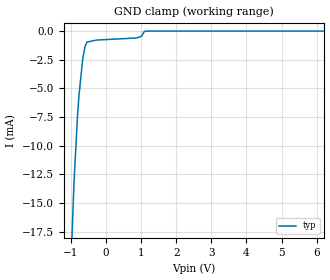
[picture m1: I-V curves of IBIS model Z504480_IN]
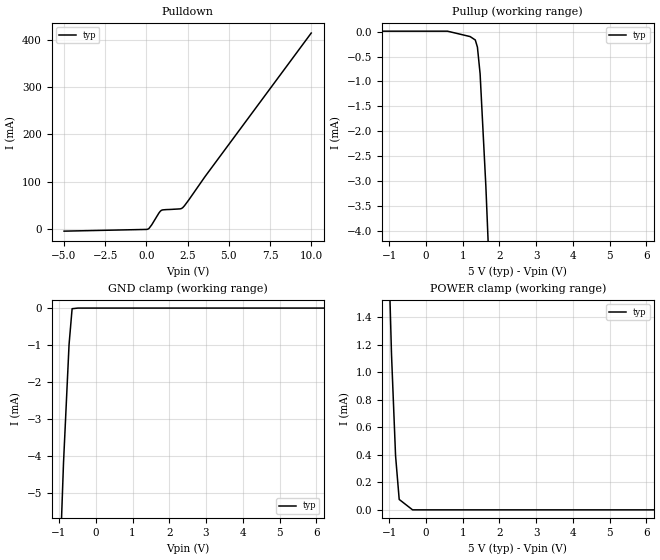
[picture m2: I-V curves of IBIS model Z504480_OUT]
| YOU ARE ONLY AUTHORIZED TO USE THIS SOFTWARE
| ACCORDING TO LICENSOR'S LICENSE RESTRICTIONS.
[IBIS Ver] 3.1
[File Name] sn54ls85j.ibs
[File Rev] 2.0
[Source] Measured and created by ICX Technology
[Date] Friday 7/14/00 9:08:15 AM
[Copyright]
| (C) COPYRIGHT 1993-2000
| MENTOR GRAPHICS CORPORATION
| ICX STANDARD LIBRARY, ICX PROJECT MODELING,
| ICX CUSTOM MODELING, ICX VENDOR MODEL
| ALL RIGHTS RESERVED.
| THE FOLLOWING ARE TRADEMARKS OR SERVICE MARKS OF
| MENTOR GRAPHICS CORPORATION:ICX (R), ICX STANDARD
| LIBRARY(R), ICX PROJECT MODELING(R), ICX CUSTOM
| MODELING(R), qualityIBIS(TM), MODELVIEWER(TM),
| AND MODELEDITOR(TM)
| ALL COPIES OF SOFTWARE, INCLUDING BUT NOT LIMITED TO
| ANY MODIFICATIONS, ENHANCEMENTS OR DERIVATIVE WORKS,
| MUST CONTAIN ALL MENTOR GRAPHICS CORPORATION'S
| NOTICES AND LEGENDS, INCLUDING THOSE EMBEDDED IN
| SOFTWARE AND THOSE AFFIXED TO SOFTWARE MEDIUM
| AND CONTAINER, AS RECEIVED FROM MENTOR GRAPHICS
| CORPORATION.
|  ZAP Model Builder 2.7
[Component] SN54LS85J
[Manufacturer] OnSemiconductor
[Package]
| variable   typ   min   max
R_pkg  .212ohms NA NA
L_pkg  4.758nH NA NA
C_pkg  1.944pF NA NA
[Pin] signal_name  model_name  R_pin  L_pin C_pin
1 B3 Z504480_IN .224 7.258n 2.683p
2 A_LT_B_I Z504480_IN .216 5.258n 2.19p
3 A_EQ_B_I Z504480_IN .208 3.758n 1.697p
4 A_GT_B_I Z504480_IN .2 2.758n 1.204p
5 A_GT_B_O Z504480_OUT .2 2.758n 1.204p
6 A_EQ_B_O Z504480_OUT .208 3.758n 1.697p
7 A_LT_B_O Z504480_OUT .216 5.258n 2.19p
8 GND GND .224 7.258n 2.683p
9 B0 Z504480_IN .224 7.258n 2.683p
10 A0 Z504480_IN .216 5.258n 2.19p
11 B1 Z504480_IN .208 3.758n 1.697p
12 A1 Z504480_IN .2 2.758n 1.204p
13 A2 Z504480_IN .2 2.758n 1.204p
14 B2 Z504480_IN .208 3.758n 1.697p
15 A3 Z504480_IN .216 5.258n 2.19p
16 VCC POWER .224 7.258n 2.683p
| Models and submodels in the file (2): Z504480_IN (Input), Z504480_OUT (Output)
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| (C) COPYRIGHT 1993-2000
| MENTOR GRAPHICS CORPORATION
| ICX STANDARD LIBRARY, ICX PROJECT MODELING,
| ICX CUSTOM MODELING, ICX VENDOR MODEL
| ALL RIGHTS RESERVED.
| THE FOLLOWING ARE TRADEMARKS OR SERVICE MARKS OF
| MENTOR GRAPHICS CORPORATION:ICX (R), ICX STANDARD
| LIBRARY(R), ICX PROJECT MODELING(R), ICX CUSTOM
| MODELING(R), qualityIBIS(TM), MODELVIEWER(TM),
| AND MODELEDITOR(TM)
| ALL COPIES OF SOFTWARE, INCLUDING BUT NOT LIMITED TO
| ANY MODIFICATIONS, ENHANCEMENTS OR DERIVATIVE WORKS,
| MUST CONTAIN ALL MENTOR GRAPHICS CORPORATION'S
| NOTICES AND LEGENDS, INCLUDING THOSE EMBEDDED IN
| SOFTWARE AND THOSE AFFIXED TO SOFTWARE MEDIUM
| AND CONTAINER, AS RECEIVED FROM MENTOR GRAPHICS
| CORPORATION.
| Model Application Version 1.89 2/18/99.
[Model] Z504480_IN
Model_type Input
Vinl = 800.0mV
Vinh = 2.000V
C_comp 4.000pF NA NA
| variable typ   min   max
[Voltage Range] 5.000V NA NA
[GND Clamp Reference] 0.000V NA NA
[POWER Clamp Reference] 5.000V NA NA
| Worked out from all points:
|   GND clamp passes 1 mA (typ) near -0.55 V on its own axis
[GND Clamp]
-5V       -355.1mA   NA         NA
-912.3mV  -13.34mA   NA         NA
-810.6mV  -7.417mA   NA         NA
-771.4mV  -5.702mA   NA         NA
-661.7mV  -2.43mA    NA         NA
-595.7mV  -1.339mA   NA         NA
-541mV    -961.7uA   NA         NA
871.1mV   -603.2uA   NA         NA
1.013V    -452.1uA   NA         NA
1.086V    -55.56uA   NA         NA
1.143V    -2.911uA   NA         NA
10V       -2.911uA   NA         NA
[POWER Clamp]
-5V       0A         NA         NA
10V       0A         NA         NA
| (C) COPYRIGHT 1993-2000
| MENTOR GRAPHICS CORPORATION
| ICX STANDARD LIBRARY, ICX PROJECT MODELING,
| ICX CUSTOM MODELING, ICX VENDOR MODEL
| ALL RIGHTS RESERVED.
| THE FOLLOWING ARE TRADEMARKS OR SERVICE MARKS OF
| MENTOR GRAPHICS CORPORATION:ICX (R), ICX STANDARD
| LIBRARY(R), ICX PROJECT MODELING(R), ICX CUSTOM
| MODELING(R), qualityIBIS(TM), MODELVIEWER(TM),
| AND MODELEDITOR(TM)
| ALL COPIES OF SOFTWARE, INCLUDING BUT NOT LIMITED TO
| ANY MODIFICATIONS, ENHANCEMENTS OR DERIVATIVE WORKS,
| MUST CONTAIN ALL MENTOR GRAPHICS CORPORATION'S
| NOTICES AND LEGENDS, INCLUDING THOSE EMBEDDED IN
| SOFTWARE AND THOSE AFFIXED TO SOFTWARE MEDIUM
| AND CONTAINER, AS RECEIVED FROM MENTOR GRAPHICS
| CORPORATION.
| Model Application Version 1.89 2/18/99.
[Model] Z504480_OUT
Model_type Output
Vref=5.000V
Rref=2.000kohms
Cref=15.00pF
Vmeas=1.300V
C_comp 8.000pF NA NA
| variable typ   min   max
[Voltage Range] 5.000V NA NA
[POWER Clamp Reference] 5.000V NA NA
[Pullup Reference] 5.000V NA NA
[Pulldown Reference] 0.000V NA NA
[GND Clamp Reference] 0.000V NA NA
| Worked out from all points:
|   slope of the pulldown table from 0 to 0.75 V, typ, clamps not added: 21.8 ohm
|   slope of the pullup table from 0 to 0.75 V, typ, clamps not added: 26 kohm
|   GND clamp passes 1 mA (typ) near -0.73 V on its own axis
|   POWER clamp passes 1 mA (typ) near -0.92 V on its own axis
[GND Clamp]
-5V       -140.4mA   NA         NA
-1.055V   -9.138mA   NA         NA
-879mV    -4.206mA   NA         NA
-727.5mV  -985.8uA   NA         NA
-644.5mV  -17.1uA    NA         NA
-483.4mV  0A         NA         NA
10V       0A         NA         NA
[Pulldown]
-5V       -4.619mA   NA         NA
48.83mV   -745.4uA   NA         NA
151.2mV   1.002mA    NA         NA
322.2mV   8.884mA    NA         NA
751.9mV   33.49mA    NA         NA
901.6mV   39.36mA    NA         NA
2.037V    42.48mA    NA         NA
2.197V    44.88mA    NA         NA
2.578V    61.88mA    NA         NA
3.555V    110.8mA    NA         NA
10V       414.5mA    NA         NA
[Pullup]
-5V       9.831uA    NA         NA
586mV     9.831uA    NA         NA
1.202V    -98.51uA   NA         NA
1.343V    -167uA     NA         NA
1.401V    -310uA     NA         NA
1.474V    -844.8uA   NA         NA
1.631V    -3.111mA   NA         NA
10V       -153.5mA   NA         NA
[POWER Clamp]
-5V       45.87mA    NA         NA
-1.084V   2.528mA    NA         NA
-937mV    1.127mA    NA         NA
-827mV    393.2uA    NA         NA
-728mV    75.66uA    NA         NA
-364mV    0A         NA         NA
10V       0A         NA         NA
[Ramp]
| variable typ min max
dV/dt_r 1.856/7.330n NA NA
dV/dt_f 1.856/2.170n NA NA
R_load = 500.0Ohms
